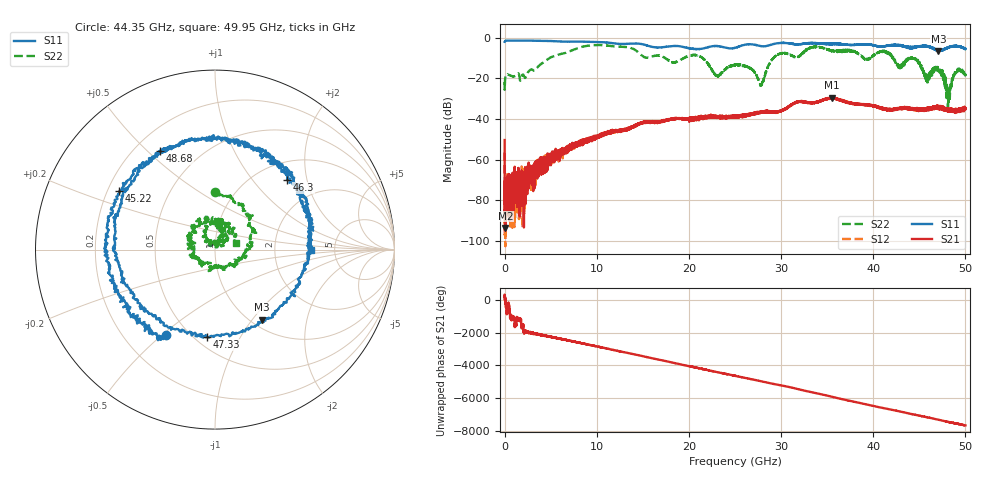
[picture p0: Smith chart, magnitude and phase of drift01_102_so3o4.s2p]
!Created with skrf (http://scikit-rf.org).
# Hz S RI R 50.0
!freq ReS11 ImS11 ReS21 ImS21 ReS12 ImS12 ReS22 ImS22
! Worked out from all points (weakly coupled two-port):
!   10001 points, 300 kHz to 50 GHz, reference 50 ohm
!   highest |S21| = -29.55 dB at 35.52 GHz (marker M1); lowest = -93.7 dB at 95.3 MHz (marker M2)
!   lowest |S11| = -6.6 dB at 47.07 GHz (marker M3), VSWR 2.76, Z = 55.9 - j55.8 ohm
!   |S11| at or under -10 dB: nowhere
!   |S22| runs from -36.8 to -3.6 dB; largest |S21 - S12| = 0.0045
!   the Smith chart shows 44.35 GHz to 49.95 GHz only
!   S11 on the Smith chart (normalised r, x): 44.35 GHz: 0.38, -0.52; 45.22 GHz: 0.25, +0.27; 46.3 GHz: 1.35, +1.53; 47.33 GHz: 0.57, -0.73; 48.68 GHz: 0.30, +0.55; 49.95 GHz: 3.29, -0.01
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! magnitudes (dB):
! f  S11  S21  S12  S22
! 300 kHz  -2.1  -50.4  -56.4  -21.8
! 95.3 MHz  -1.5  -93.7  -72.3  -18.8
! 255.3 MHz  -1.4  -81.4  -76.6  -18.0
! 1.855 GHz  -1.4  -70.6  -74.9  -18.9
! 8.335 GHz  -1.9  -51.3  -50.8  -4.6
! 16.67 GHz  -4.8  -41.2  -41.4  -8.7
! 23.08 GHz  -4.1  -38.8  -39.5  -18.7
! 25 GHz  -5.0  -39.1  -39.0  -13.7
! 27.84 GHz  -4.1  -36.5  -36.5  -23.1
! 29.47 GHz  -2.9  -36.5  -36.5  -8.8
! 33.34 GHz  -2.6  -32.2  -32.0  -4.7
! 35.52 GHz  -3.2  -29.5  -29.8  -6.3
! 41.67 GHz  -3.9  -35.5  -35.5  -7.7
! 44.35 GHz  -5.2  -35.2  -35.2  -9.9
! 45.22 GHz  -4.1  -35.2  -35.4  -13.9
! 46.3 GHz  -5.0  -35.1  -34.9  -16.6
! 47.07 GHz  -6.6  -34.4  -34.2  -16.3
! 47.33 GHz  -6.2  -33.6  -34.6  -15.3
! 48.13 GHz  -4.8  -35.2  -35.3  -31.7
! 48.68 GHz  -4.0  -36.1  -36.0  -19.2
! 49.95 GHz  -5.4  -34.2  -34.9  -18.4
! 50 GHz  -5.5  -34.6  -34.3  -18.3
